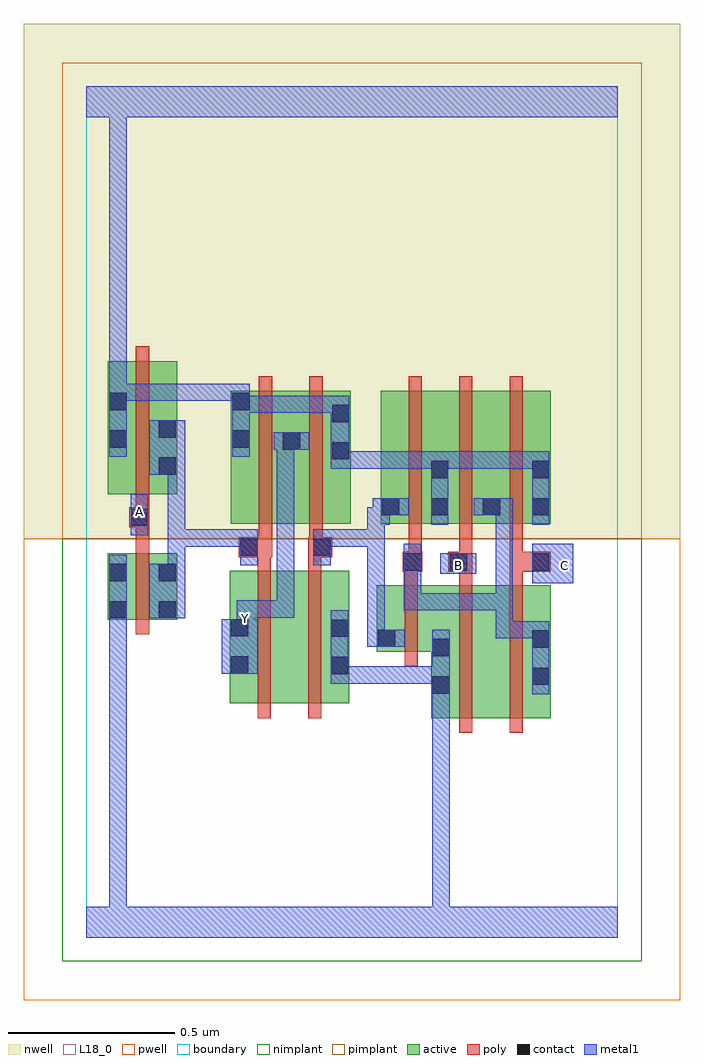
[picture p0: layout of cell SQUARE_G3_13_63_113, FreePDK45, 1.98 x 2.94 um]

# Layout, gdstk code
import gdstk
lib = gdstk.Library(unit=1e-6, precision=1e-09)
def R(c, l, rs):  # rectangles x0, y0, x1, y1
    for r in rs: c.add(gdstk.rectangle(r[:2], r[2:], *l))
def A(c, l, x, y, w, h, nx, ny, dx, dy):  # array of equal rectangles
    R(c, l, [(x+i*dx, y+j*dy, x+i*dx+w, y+j*dy+h) for i in range(nx) for j in range(ny)])
active = (1, 0)
pwell = (2, 0)
nwell = (3, 0)
nimplant = (4, 0)
pimplant = (5, 0)
poly = (9, 0)
contact = (10, 0)
metal1 = (11, 0)
L18_0 = (18, 0)
boundary = (235, 0)

square_g3_13_63_113 = lib.new_cell('SQUARE_G3_13_63_113')
R(square_g3_13_63_113, active, [(1.038,0.66,1.218,1.06), (1.218,0.66,1.398,1.06), (0.432,0.704,0.612,1.104), (0.432,0.704,0.492,1.104), (0.612,0.704,0.792,1.104), (0.732,0.704,0.792,1.104), (1.038,0.73,1.098,1.028), (1.338,0.756,1.398,1.06), (0.874,0.86,1.098,1.06), (0.874,0.86,0.934,1.06), (0.066,0.956,0.126,1.156), (0.066,0.956,0.274,1.156), (0.214,0.956,0.274,1.156), (0.436,1.244,0.496,1.644), (0.436,1.244,0.648,1.644), (0.588,1.244,0.796,1.644), (0.736,1.244,0.796,1.644), (0.886,1.244,0.946,1.644), (0.886,1.244,1.094,1.644), (1.034,1.244,1.25,1.644), (1.19,1.244,1.398,1.644), (1.338,1.244,1.398,1.644), (1.034,1.266,1.094,1.644), (1.19,1.266,1.25,1.644), (0.066,1.334,0.274,1.734), (0.066,1.334,0.126,1.644), (0.214,1.334,0.274,1.644), (0.588,1.464,0.648,1.644)])
R(square_g3_13_63_113, pwell, [(-0.188,-0.188,1.788,1.2)])
R(square_g3_13_63_113, nwell, [(-0.188,1.2,1.788,2.748)])
R(square_g3_13_63_113, nimplant, [(-0.072,-0.072,1.672,1.2)])
R(square_g3_13_63_113, pimplant, [(-0.072,1.2,1.672,2.632)])
A(square_g3_13_63_113, poly, 0.97, 1.12, 0.04, 0.12, 3, 1, 0.152, 0)
A(square_g3_13_63_113, poly, 0.97, 1.2, 0.04, 0.488, 3, 1, 0.152, 0)
R(square_g3_13_63_113, poly, [(1.122,0.616,1.162,1.104), (1.274,0.616,1.314,1.104), (0.516,0.66,0.556,1.148), (0.668,0.66,0.708,1.148), (0.958,0.816,0.998,1.104), (0.15,0.912,0.19,1.2), (0.958,1.064,0.998,1.14), (1.122,1.064,1.162,1.14), (1.274,1.064,1.314,1.14), (0.952,1.1,1.012,1.16), (1.09,1.1,1.162,1.16), (1.122,1.1,1.162,1.14), (1.122,1.1,1.162,1.14), (1.274,1.1,1.314,1.14), (1.274,1.1,1.314,1.14), (1.274,1.1,1.398,1.16), (0.516,1.108,0.556,1.184), (0.668,1.108,0.708,1.184), (0.97,1.12,1.01,1.16), (0.97,1.12,1.01,1.16), (0.46,1.144,0.56,1.204), (0.516,1.144,0.556,1.184), (0.516,1.144,0.556,1.184), (0.668,1.144,0.74,1.204), (0.15,1.16,0.19,1.274), (0.52,1.164,0.56,1.24), (0.672,1.164,0.712,1.204), (0.672,1.164,0.712,1.204), (0.672,1.164,0.712,1.24), (0.52,1.2,0.56,1.688), (0.672,1.2,0.712,1.688), (0.13,1.234,0.19,1.294), (0.15,1.254,0.19,1.294), (0.15,1.254,0.19,1.294), (0.15,1.254,0.19,1.33), (0.15,1.29,0.19,1.778)])
R(square_g3_13_63_113, contact, [(1.042,0.734,1.094,0.786), (1.342,0.76,1.394,0.812), (0.736,0.792,0.788,0.844), (0.436,0.794,0.488,0.846), (1.042,0.846,1.094,0.898), (1.342,0.872,1.394,0.924), (0.878,0.874,0.93,0.926), (0.736,0.904,0.788,0.956), (0.436,0.906,0.488,0.958), (0.07,0.96,0.122,1.012), (0.218,0.96,0.27,1.012), (0.07,1.072,0.122,1.124), (0.218,1.072,0.27,1.124), (0.956,1.104,1.008,1.156), (1.094,1.104,1.146,1.156), (1.342,1.104,1.394,1.156), (0.464,1.148,0.516,1.2), (0.684,1.148,0.736,1.2), (0.134,1.238,0.186,1.29), (0.89,1.27,0.942,1.322), (1.038,1.27,1.09,1.322), (1.194,1.27,1.246,1.322), (1.342,1.27,1.394,1.322), (1.038,1.382,1.09,1.434), (1.342,1.382,1.394,1.434), (0.218,1.392,0.27,1.444), (0.74,1.438,0.792,1.49), (0.592,1.468,0.644,1.52), (0.07,1.474,0.122,1.526), (0.44,1.474,0.492,1.526), (0.218,1.504,0.27,1.556), (0.74,1.55,0.792,1.602), (0.07,1.586,0.122,1.638), (0.44,1.586,0.492,1.638)])
R(square_g3_13_63_113, metal1, [(0,0,1.6,0.092), (0.07,0.04,0.122,0.092), (0.07,0.04,0.122,0.092), (0.07,0.04,0.122,0.092), (0.07,0.04,0.122,0.092), (0.07,0.04,0.122,0.092), (0.07,0.04,0.122,0.092), (0.07,0.04,0.122,0.092), (0.07,0.04,0.122,0.092), (0.07,0.04,0.122,0.092), (0.07,0.04,0.122,0.092), (0.07,0.04,0.122,0.092), (0.07,0.04,0.122,0.092), (0.07,0.04,0.122,0.092), (0.07,0.04,0.122,0.092), (0.07,0.04,0.122,0.984), (1.042,0.04,1.094,0.092), (1.042,0.04,1.094,0.092), (1.042,0.04,1.094,0.092), (1.042,0.04,1.094,0.092), (1.042,0.04,1.094,0.092), (1.042,0.04,1.094,0.092), (1.042,0.04,1.094,0.758), (1.042,0.706,1.094,0.758), (1.042,0.706,1.094,0.758), (1.042,0.706,1.094,0.758), (1.042,0.706,1.094,0.758), (1.042,0.706,1.094,0.758), (1.042,0.706,1.094,0.758), (1.042,0.706,1.094,0.926), (1.342,0.732,1.394,0.952), (0.736,0.764,0.788,0.984), (0.736,0.764,0.898,0.816), (0.846,0.764,0.898,0.816), (0.846,0.764,1.008,0.816), (0.956,0.764,1.008,0.816), (0.956,0.764,1.094,0.816), (0.408,0.794,0.516,0.958), (0.846,0.874,0.898,1.228), (0.846,0.874,0.958,0.926), (1.232,0.9,1.284,0.952), (1.232,0.9,1.394,0.952), (1.232,0.9,1.284,1.036), (1.342,0.9,1.394,0.952), (1.342,0.9,1.394,0.952), (0.454,0.906,0.506,0.958), (0.454,0.906,0.506,1.014), (0.07,0.932,0.122,0.984), (0.07,0.932,0.122,0.984), (0.07,0.932,0.122,1.152), (0.19,0.96,0.298,1.124), (0.454,0.962,0.626,1.014), (0.574,0.962,0.626,1.014), (0.574,0.962,0.626,1.014), (0.574,0.962,0.626,1.014), (0.574,0.962,0.626,1.014), (0.574,0.962,0.626,1.014), (0.574,0.962,0.626,1.52), (0.956,0.984,1.284,1.036), (0.956,0.984,1.008,1.128), (1.232,0.984,1.284,1.036), (1.232,0.984,1.284,1.036), (1.232,0.984,1.284,1.036), (1.232,0.984,1.284,1.036), (1.232,0.984,1.284,1.036), (1.232,0.984,1.284,1.322), (1.342,1.066,1.466,1.184), (0.246,1.072,0.298,1.228), (0.956,1.076,1.008,1.128), (0.956,1.076,1.008,1.184), (1.066,1.094,1.174,1.156), (0.464,1.12,0.516,1.228), (0.684,1.12,0.736,1.228), (0.246,1.176,0.298,1.228), (0.246,1.176,0.298,1.228), (0.246,1.176,0.298,1.228), (0.246,1.176,0.298,1.228), (0.246,1.176,0.298,1.228), (0.246,1.176,0.516,1.228), (0.246,1.176,0.298,1.444), (0.684,1.176,0.736,1.228), (0.684,1.176,0.736,1.228), (0.684,1.176,0.898,1.228), (0.846,1.176,0.898,1.228), (0.846,1.176,0.898,1.294), (0.134,1.21,0.186,1.334), (0.846,1.242,0.914,1.294), (0.862,1.242,0.914,1.322), (1.038,1.242,1.09,1.462), (1.342,1.242,1.394,1.462), (0.862,1.27,0.97,1.322), (1.166,1.27,1.284,1.322), (0.19,1.392,0.298,1.556), (0.736,1.41,0.792,1.63), (0.74,1.41,0.898,1.462), (0.846,1.41,0.898,1.462), (0.846,1.41,1.008,1.462), (0.956,1.41,1.008,1.462), (0.956,1.41,1.09,1.462), (1.038,1.41,1.284,1.462), (1.232,1.41,1.284,1.462), (1.232,1.41,1.284,1.462), (1.232,1.41,1.284,1.462), (1.232,1.41,1.394,1.462), (1.342,1.41,1.394,1.462), (1.342,1.41,1.394,1.462), (0.07,1.446,0.122,1.666), (0.44,1.446,0.492,1.666), (0.564,1.468,0.672,1.52), (0.44,1.578,0.616,1.63), (0.564,1.578,0.616,1.63), (0.564,1.578,0.616,1.63), (0.564,1.578,0.616,1.63), (0.564,1.578,0.788,1.63), (0.736,1.578,0.788,1.63), (0.736,1.578,0.788,1.63), (0.07,1.614,0.122,1.666), (0.07,1.614,0.122,1.666), (0.07,1.614,0.122,1.666), (0.07,1.614,0.122,1.666), (0.07,1.614,0.122,1.666), (0.07,1.614,0.122,1.666), (0.07,1.614,0.122,1.666), (0.07,1.614,0.122,1.666), (0.07,1.614,0.122,1.666), (0.07,1.614,0.122,1.666), (0.07,1.614,0.232,1.666), (0.07,1.614,0.122,2.52), (0.18,1.614,0.232,1.666), (0.18,1.614,0.492,1.666), (0,2.468,1.6,2.56), (0.07,2.468,0.122,2.52), (0.07,2.468,0.122,2.52), (0.07,2.468,0.122,2.52), (0.07,2.468,0.122,2.52), (0.07,2.468,0.122,2.52), (0.07,2.468,0.122,2.52), (0.07,2.468,0.122,2.52), (0.07,2.468,0.122,2.52)])
R(square_g3_13_63_113, L18_0, [(0,0,1.6,0.092), (0.07,0.04,0.122,0.092), (0.07,0.04,0.122,0.092), (0.07,0.04,0.122,0.092), (0.07,0.04,0.122,0.092), (0.07,0.04,0.122,0.092), (0.07,0.04,0.122,0.092), (0.07,0.04,0.122,0.092), (0.07,0.04,0.122,0.092), (0.07,0.04,0.122,0.092), (0.07,0.04,0.122,0.092), (0.07,0.04,0.122,0.092), (0.07,0.04,0.122,0.092), (0.07,0.04,0.122,0.092), (0.07,0.04,0.122,0.092), (0.07,0.04,0.122,0.984), (1.042,0.04,1.094,0.092), (1.042,0.04,1.094,0.092), (1.042,0.04,1.094,0.092), (1.042,0.04,1.094,0.092), (1.042,0.04,1.094,0.092), (1.042,0.04,1.094,0.092), (1.042,0.04,1.094,0.758), (1.042,0.706,1.094,0.758), (1.042,0.706,1.094,0.758), (1.042,0.706,1.094,0.758), (1.042,0.706,1.094,0.758), (1.042,0.706,1.094,0.758), (1.042,0.706,1.094,0.758), (1.042,0.706,1.094,0.926), (0.736,0.764,0.788,0.984), (0.736,0.764,0.898,0.816), (0.846,0.764,0.898,0.816), (0.846,0.764,1.008,0.816), (0.956,0.764,1.008,0.816), (0.956,0.764,1.094,0.816), (0.408,0.794,0.516,0.958), (0.454,0.906,0.506,0.958), (0.454,0.906,0.506,1.014), (0.07,0.932,0.122,0.984), (0.07,0.932,0.122,0.984), (0.07,0.932,0.122,1.152), (0.454,0.934,0.506,0.986), (0.454,0.962,0.626,1.014), (0.574,0.962,0.626,1.014), (0.574,0.962,0.626,1.014), (0.574,0.962,0.626,1.014), (0.574,0.962,0.626,1.014), (0.574,0.962,0.626,1.014), (0.574,0.962,0.626,1.52), (1.342,1.066,1.466,1.184), (1.066,1.094,1.174,1.156), (1.094,1.094,1.146,1.146), (1.414,1.094,1.466,1.146), (0.134,1.21,0.186,1.334), (1.038,1.242,1.09,1.462), (1.342,1.242,1.394,1.462), (0.134,1.254,0.186,1.306), (0.736,1.41,0.792,1.63), (0.74,1.41,0.898,1.462), (0.846,1.41,0.898,1.462), (0.846,1.41,1.008,1.462), (0.956,1.41,1.008,1.462), (0.956,1.41,1.09,1.462), (1.038,1.41,1.284,1.462), (1.232,1.41,1.284,1.462), (1.232,1.41,1.284,1.462), (1.232,1.41,1.284,1.462), (1.232,1.41,1.394,1.462), (1.342,1.41,1.394,1.462), (1.342,1.41,1.394,1.462), (0.07,1.446,0.122,1.666), (0.44,1.446,0.492,1.666), (0.564,1.468,0.672,1.52), (0.44,1.578,0.616,1.63), (0.564,1.578,0.616,1.63), (0.564,1.578,0.616,1.63), (0.564,1.578,0.616,1.63), (0.564,1.578,0.788,1.63), (0.736,1.578,0.788,1.63), (0.736,1.578,0.788,1.63), (0.07,1.614,0.122,1.666), (0.07,1.614,0.122,1.666), (0.07,1.614,0.122,1.666), (0.07,1.614,0.122,1.666), (0.07,1.614,0.122,1.666), (0.07,1.614,0.122,1.666), (0.07,1.614,0.122,1.666), (0.07,1.614,0.122,1.666), (0.07,1.614,0.122,1.666), (0.07,1.614,0.122,1.666), (0.07,1.614,0.122,2.52), (0.07,1.614,0.232,1.666), (0.18,1.614,0.232,1.666), (0.18,1.614,0.492,1.666), (0,2.468,1.6,2.56), (0.07,2.468,0.122,2.52), (0.07,2.468,0.122,2.52), (0.07,2.468,0.122,2.52), (0.07,2.468,0.122,2.52), (0.07,2.468,0.122,2.52), (0.07,2.468,0.122,2.52), (0.07,2.468,0.122,2.52), (0.07,2.468,0.122,2.52)])
R(square_g3_13_63_113, boundary, [(0,0,1.6,2.56)])
square_g3_13_63_113.add(gdstk.Label('A', (0.16,1.28), layer=11, texttype=0))
square_g3_13_63_113.add(gdstk.Label('B', (1.12,1.12), layer=11, texttype=0))
square_g3_13_63_113.add(gdstk.Label('C', (1.44,1.12), layer=11, texttype=0))
square_g3_13_63_113.add(gdstk.Label('Y', (0.48,0.96), layer=11, texttype=0))

lib.write_gds('SQUARE_G3_13_63_113.gds')
